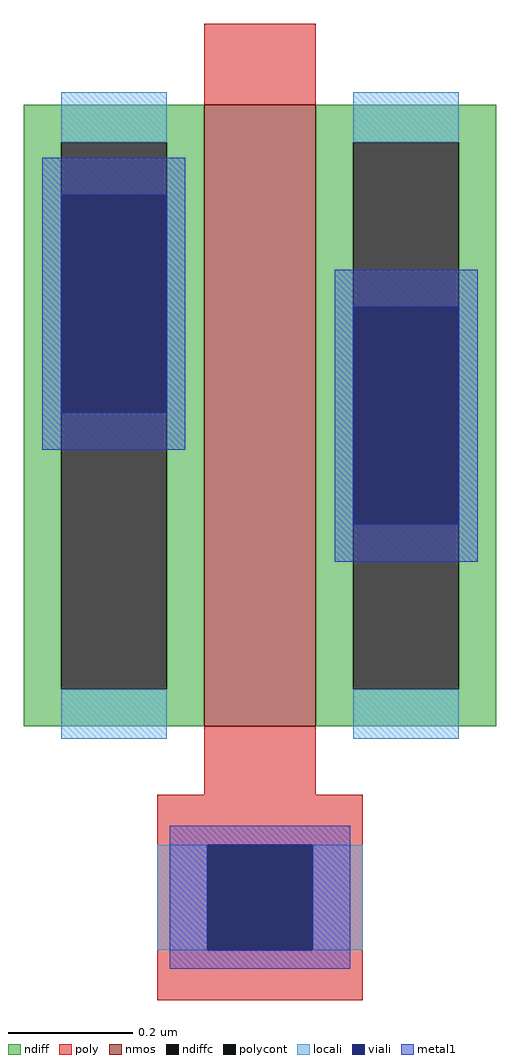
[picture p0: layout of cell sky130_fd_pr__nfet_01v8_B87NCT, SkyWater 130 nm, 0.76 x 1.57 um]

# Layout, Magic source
magic
tech sky130A
magscale 1 2
<< nmos >>
rect -18 -69 18 131
<< ndiff >>
rect -76 119 -18 131
rect -76 -57 -64 119
rect -30 -57 -18 119
rect -76 -69 -18 -57
rect 18 119 76 131
rect 18 -57 30 119
rect 64 -57 76 119
rect 18 -69 76 -57
<< ndiffc >>
rect -64 -57 -30 119
rect 30 -57 64 119
<< poly >>
rect -18 131 18 157
rect -18 -91 18 -69
rect -33 -107 33 -91
rect -33 -141 -17 -107
rect 17 -141 33 -107
rect -33 -157 33 -141
<< polycont >>
rect -17 -141 17 -107
<< locali >>
rect -64 119 -30 135
rect -64 -73 -30 -57
rect 30 119 64 135
rect 30 -73 64 -57
rect -33 -141 -17 -107
rect 17 -141 33 -107
<< viali >>
rect -64 32 -30 102
rect 30 -4 64 66
rect -17 -141 17 -107
<< metal1 >>
rect -70 102 -24 114
rect -70 32 -64 102
rect -30 32 -24 102
rect -70 20 -24 32
rect 24 66 70 78
rect 24 -4 30 66
rect 64 -4 70 66
rect 24 -16 70 -4
rect -29 -107 29 -101
rect -29 -141 -17 -107
rect 17 -141 29 -107
rect -29 -147 29 -141
<< properties >>
string gencell sky130_fd_pr__nfet_01v8
string library sky130
string parameters w 1 l 0.18 m 1 nf 1 diffcov 100 polycov 100 guard 0 glc 0 grc 0 gtc 0 gbc 0 tbcov 100 rlcov 100 topc 0 botc 1 poverlap 0 doverlap 1 lmin 0.15 wmin 0.42 compatible {sky130_fd_pr__nfet_01v8 sky130_fd_pr__nfet_01v8_lvt  sky130_fd_bs_flash__special_sonosfet_star  sky130_fd_pr__nfet_g5v0d10v5 sky130_fd_pr__nfet_05v0_nvt  sky130_fd_pr__nfet_03v3_nvt} full_metal 0 viasrc 40 viadrn -40 viagate 100 viagb 80 viagr 0 viagl 0 viagt 0
<< end >>
